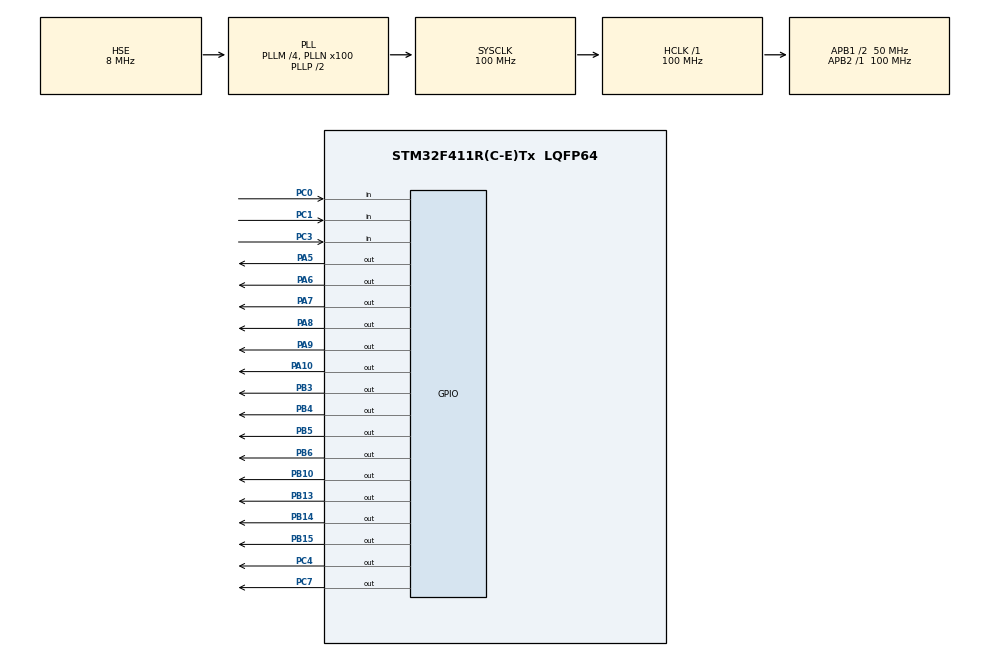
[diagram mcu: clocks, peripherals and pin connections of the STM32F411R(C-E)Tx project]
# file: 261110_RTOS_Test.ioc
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FREERTOS.Tasks01=defaultTask,0,128,StartDefaultTask,Default,NULL,Dynamic,NULL,NULL;myTask02,0,128,StartTask02,Default,NULL,Dynamic,NULL,NULL;myTask03,0,128,StartTask03,Default,NULL,Dynamic,NULL,NULL;myTask04,0,128,StartTask04,Default,NULL,Dynamic,NULL,NULL
FREERTOS.configUSE_NEWLIB_REENTRANT=1
Mcu.Family=STM32F4
Mcu.Name=STM32F411R(C-E)Tx
Mcu.Package=LQFP64
NVIC.PriorityGroup=NVIC_PRIORITYGROUP_4
NVIC.TIM1_UP_TIM10_IRQn=true\:15\:0\:false\:false\:true\:false\:false\:true\:true
NVIC.TimeBase=TIM1_UP_TIM10_IRQn
NVIC.TimeBaseIP=TIM10
PA10.Signal=GPIO_Output
PA13.Mode=Serial_Wire
PA13.Signal=SYS_JTMS-SWDIO
PA14.Mode=Serial_Wire
PA14.Signal=SYS_JTCK-SWCLK
PA5.Signal=GPIO_Output
PA6.Signal=GPIO_Output
PA7.Signal=GPIO_Output
PA8.Signal=GPIO_Output
PA9.Signal=GPIO_Output
PB10.Signal=GPIO_Output
PB13.Signal=GPIO_Output
PB14.Signal=GPIO_Output
PB15.Signal=GPIO_Output
PB3.Signal=GPIO_Output
PB4.Signal=GPIO_Output
PB5.Signal=GPIO_Output
PB6.Signal=GPIO_Output
PC0.Signal=GPIO_Input
PC1.Signal=GPIO_Input
PC3.Signal=GPIO_Input
PC4.Signal=GPIO_Output
PC7.Signal=GPIO_Output
PH0\ -\ OSC_IN.Mode=HSE-External-Oscillator
PH0\ -\ OSC_IN.Signal=RCC_OSC_IN
PH1\ -\ OSC_OUT.Mode=HSE-External-Oscillator
PH1\ -\ OSC_OUT.Signal=RCC_OSC_OUT
ProjectManager.HeapSize=0x200
ProjectManager.StackSize=0x400
ProjectManager.TargetToolchain=STM32CubeIDE
RCC.48MHZClocksFreq_Value=50000000
RCC.AHBFreq_Value=100000000
RCC.APB1CLKDivider=RCC_HCLK_DIV2
RCC.APB1Freq_Value=50000000
RCC.APB1TimFreq_Value=100000000
RCC.APB2Freq_Value=100000000
RCC.APB2TimFreq_Value=100000000
RCC.CortexFreq_Value=100000000
RCC.HCLKFreq_Value=100000000
RCC.HSE_VALUE=8000000
RCC.HSI_VALUE=16000000
RCC.LSE_VALUE=32768
RCC.PLLM=4
RCC.PLLN=100
RCC.PLLSourceVirtual=RCC_PLLSOURCE_HSE
RCC.SYSCLKFreq_VALUE=100000000
RCC.SYSCLKSource=RCC_SYSCLKSOURCE_PLLCLK
RCC.VCOOutputFreq_Value=200000000
VP_FREERTOS_VS_CMSIS_V1.Mode=CMSIS_V1
VP_SYS_VS_tim10.Mode=TIM10
board=custom

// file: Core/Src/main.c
/* USER CODE BEGIN Header */
/**
 ******************************************************************************
 * @file           : main.c
 * @brief          : Main program body
 ******************************************************************************
 * @attention
 *
 * Copyright (c) 2026 STMicroelectronics.
 * All rights reserved.
 *
 * This software is licensed under terms that can be found in the LICENSE file
 * in the root directory of this software component.
 * If no LICENSE file comes with this software, it is provided AS-IS.
 *
 ******************************************************************************
 */
/* USER CODE END Header */
#include "main.h"
#include "cmsis_os.h"

/* USER CODE BEGIN Includes */
#include <stdio.h>
#include "driver/button/button.h"

#include "ap/task/counter_task/counter_task.h"
#include "ap/task/display_task/display_task.h"
#include "ap/task/event_task/event_task.h"
/* USER CODE END Includes */

osThreadId defaultTaskHandle;
osThreadId myTask02Handle;
osThreadId myTask03Handle;
osThreadId myTask04Handle;

void SystemClock_Config(void);
static void MX_GPIO_Init(void);
void StartDefaultTask(void const * argument);
void StartTask02(void const * argument);
void StartTask03(void const * argument);
void StartTask04(void const * argument);

/* USER CODE BEGIN 0 */
int __io_putchar(int ch)
{
	ITM_SendChar(ch);
	return ch;
}
/* USER CODE END 0 */

int main(void)
{

	/* MCU Configuration--------------------------------------------------------*/

	/* Reset of all peripherals, Initializes the Flash interface and the Systick. */
	HAL_Init();

	/* Configure the system clock */
	SystemClock_Config();

	/* Initialize all configured peripherals */
	MX_GPIO_Init();

	/* Create the thread(s) */
	/* definition and creation of defaultTask */
	osThreadDef(defaultTask, StartDefaultTask, osPriorityNormal, 0, 128);
	defaultTaskHandle = osThreadCreate(osThread(defaultTask), NULL);

	/* definition and creation of myTask02 */
	osThreadDef(myTask02, StartTask02, osPriorityNormal, 0, 128);
	myTask02Handle = osThreadCreate(osThread(myTask02), NULL);

	/* definition and creation of myTask03 */
	osThreadDef(myTask03, StartTask03, osPriorityNormal, 0, 128);
	myTask03Handle = osThreadCreate(osThread(myTask03), NULL);

	/* definition and creation of myTask04 */
	osThreadDef(myTask04, StartTask04, osPriorityNormal, 0, 128);
	myTask04Handle = osThreadCreate(osThread(myTask04), NULL);

	/* Start scheduler */
	osKernelStart();

	/* We should never get here as control is now taken by the scheduler */

	/* Infinite loop */
	while (1)
	{

	}
}

void SystemClock_Config(void)
{
	RCC_OscInitTypeDef RCC_OscInitStruct = {0};
	RCC_ClkInitTypeDef RCC_ClkInitStruct = {0};

	/** Configure the main internal regulator output voltage
	 */
	__HAL_RCC_PWR_CLK_ENABLE();
	__HAL_PWR_VOLTAGESCALING_CONFIG(PWR_REGULATOR_VOLTAGE_SCALE1);

	/** Initializes the RCC Oscillators according to the specified parameters
	 * in the RCC_OscInitTypeDef structure.
	 */
	RCC_OscInitStruct.OscillatorType = RCC_OSCILLATORTYPE_HSE;
	RCC_OscInitStruct.HSEState = RCC_HSE_ON;
	RCC_OscInitStruct.PLL.PLLState = RCC_PLL_ON;
	RCC_OscInitStruct.PLL.PLLSource = RCC_PLLSOURCE_HSE;
	RCC_OscInitStruct.PLL.PLLM = 4;
	RCC_OscInitStruct.PLL.PLLN = 100;
	RCC_OscInitStruct.PLL.PLLP = RCC_PLLP_DIV2;
	RCC_OscInitStruct.PLL.PLLQ = 4;
	if (HAL_RCC_OscConfig(&RCC_OscInitStruct) != HAL_OK)
	{
		Error_Handler();
	}

	/** Initializes the CPU, AHB and APB buses clocks
	 */
	RCC_ClkInitStruct.ClockType = RCC_CLOCKTYPE_HCLK|RCC_CLOCKTYPE_SYSCLK
			|RCC_CLOCKTYPE_PCLK1|RCC_CLOCKTYPE_PCLK2;
	RCC_ClkInitStruct.SYSCLKSource = RCC_SYSCLKSOURCE_PLLCLK;
	RCC_ClkInitStruct.AHBCLKDivider = RCC_SYSCLK_DIV1;
	RCC_ClkInitStruct.APB1CLKDivider = RCC_HCLK_DIV2;
	RCC_ClkInitStruct.APB2CLKDivider = RCC_HCLK_DIV1;

	if (HAL_RCC_ClockConfig(&RCC_ClkInitStruct, FLASH_LATENCY_3) != HAL_OK)
	{
		Error_Handler();
	}
}

static void MX_GPIO_Init(void)
{
	GPIO_InitTypeDef GPIO_InitStruct = {0};

	/* GPIO Ports Clock Enable */
	__HAL_RCC_GPIOH_CLK_ENABLE();
	__HAL_RCC_GPIOC_CLK_ENABLE();
	__HAL_RCC_GPIOA_CLK_ENABLE();
	__HAL_RCC_GPIOB_CLK_ENABLE();

	/*Configure GPIO pin Output Level */
	HAL_GPIO_WritePin(GPIOA, GPIO_PIN_5|GPIO_PIN_6|GPIO_PIN_7|GPIO_PIN_8
			|GPIO_PIN_9|GPIO_PIN_10, GPIO_PIN_RESET);

	/*Configure GPIO pin Output Level */
	HAL_GPIO_WritePin(GPIOC, GPIO_PIN_4|GPIO_PIN_7, GPIO_PIN_RESET);

	/*Configure GPIO pin Output Level */
	HAL_GPIO_WritePin(GPIOB, GPIO_PIN_10|GPIO_PIN_13|GPIO_PIN_14|GPIO_PIN_15
			|GPIO_PIN_3|GPIO_PIN_4|GPIO_PIN_5|GPIO_PIN_6, GPIO_PIN_RESET);

	/*Configure GPIO pins : PC0 PC1 PC3 */
	GPIO_InitStruct.Pin = GPIO_PIN_0|GPIO_PIN_1|GPIO_PIN_3;
	GPIO_InitStruct.Mode = GPIO_MODE_INPUT;
	GPIO_InitStruct.Pull = GPIO_NOPULL;
	HAL_GPIO_Init(GPIOC, &GPIO_InitStruct);

	/*Configure GPIO pins : PA5 PA6 PA7 PA8
                           PA9 PA10 */
	GPIO_InitStruct.Pin = GPIO_PIN_5|GPIO_PIN_6|GPIO_PIN_7|GPIO_PIN_8
			|GPIO_PIN_9|GPIO_PIN_10;
	GPIO_InitStruct.Mode = GPIO_MODE_OUTPUT_PP;
	GPIO_InitStruct.Pull = GPIO_NOPULL;
	GPIO_InitStruct.Speed = GPIO_SPEED_FREQ_LOW;
	HAL_GPIO_Init(GPIOA, &GPIO_InitStruct);

	/*Configure GPIO pins : PC4 PC7 */
	GPIO_InitStruct.Pin = GPIO_PIN_4|GPIO_PIN_7;
	GPIO_InitStruct.Mode = GPIO_MODE_OUTPUT_PP;
	GPIO_InitStruct.Pull = GPIO_NOPULL;
	GPIO_InitStruct.Speed = GPIO_SPEED_FREQ_LOW;
	HAL_GPIO_Init(GPIOC, &GPIO_InitStruct);

	/*Configure GPIO pins : PB10 PB13 PB14 PB15
                           PB3 PB4 PB5 PB6 */
	GPIO_InitStruct.Pin = GPIO_PIN_10|GPIO_PIN_13|GPIO_PIN_14|GPIO_PIN_15
			|GPIO_PIN_3|GPIO_PIN_4|GPIO_PIN_5|GPIO_PIN_6;
	GPIO_InitStruct.Mode = GPIO_MODE_OUTPUT_PP;
	GPIO_InitStruct.Pull = GPIO_NOPULL;
	GPIO_InitStruct.Speed = GPIO_SPEED_FREQ_LOW;
	HAL_GPIO_Init(GPIOB, &GPIO_InitStruct);

}

void StartDefaultTask(void const * argument)
{
	/* USER CODE BEGIN 5 */
	/* Infinite loop */
	for(;;)
	{
		HAL_GPIO_TogglePin(GPIOC, GPIO_PIN_4);
		printf("Task1: %lu\n", osKernelSysTick()); //OS가 동작할 때마다 Tick발생. HAL_GetTick()과 비슷한 기능
		osDelay(500);
	}
	/* USER CODE END 5 */
}

void StartTask02(void const * argument)
{
	/* USER CODE BEGIN StartTask02 */
	/* Infinite loop */
	for(;;)
	{
		display_task();

		osDelay(1);
	}
	/* USER CODE END StartTask02 */
}

void StartTask03(void const * argument)
{
	/* USER CODE BEGIN lllStartTask03 */
	counter_task_init();
	/* Infinite loop */
	for(;;)
	{
		counter_task();
		osDelay(10);
	}

	/* USER CODE END StartTask03 */
}

void StartTask04(void const * argument)
{
	/* USER CODE BEGIN StartTask04 */
	event_task_init();
	/* Infinite loop */
	for(;;)
	{

		event_task();
		HAL_GPIO_TogglePin(GPIOB, GPIO_PIN_13);
	}
	osDelay(10);
	/* USER CODE END StartTask04 */
}

void HAL_TIM_PeriodElapsedCallback(TIM_HandleTypeDef *htim)
{
	if (htim->Instance == TIM10)
	{
		HAL_IncTick();
	}
}

void Error_Handler(void)
{
	__disable_irq();
	while (1)
	{
	}
}
